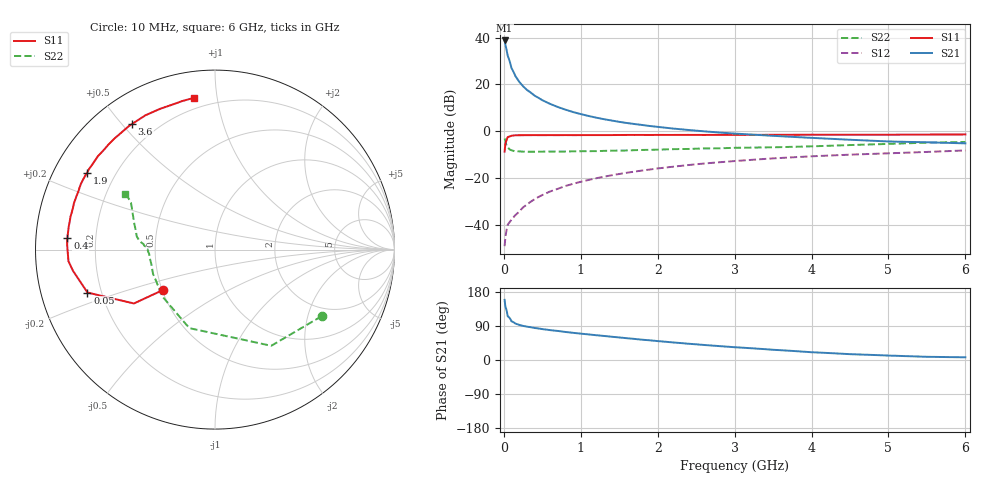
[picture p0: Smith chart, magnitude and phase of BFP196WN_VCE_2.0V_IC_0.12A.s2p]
! (c) 2017  Infineon Technologies AG, Munich
! Infineon Technologies  Discrete & RF Semiconductors
! BFP196WN
! VCE =  2.0 V,  IC = 0.12 A
! Common Emitter S-Parameters:  Jan 2017
# GHz  S  MA  R  50
!  f  S11  S21  S12  S22
! GHz  MAG  ANG  MAG  ANG  MAG  ANG  MAG  ANG
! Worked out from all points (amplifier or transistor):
!   77 points, 10 MHz to 6 GHz, reference 50 ohm
!   highest |S21| = 38.8 dB at 10 MHz (marker M1)
!   |S21| within 3 dB of that: start of sweep to 28.7 MHz
!   unconditionally stable (mu >= 1): 267.1 MHz to 3.217 GHz; 4.597 GHz to 5.201 GHz
!   at 130 MHz: K = 0.83, MSG = 30.8 dB, |S12| = -36.6 dB
!   at 2.2 GHz: K = 1.04, MAG = 6.9 dB, |S12| = -15.2 dB
!   at 6 GHz: K = 0.96, MSG = 1.5 dB, |S12| = -8.2 dB
!   S11 on the Smith chart (normalised r, x): 10 MHz: 0.51, -0.26; 50 MHz: 0.15, -0.16; 400 MHz: 0.10, +0.04; 1.9 GHz: 0.10, +0.27; 3.6 GHz: 0.11, +0.53; 6 GHz: 0.14, +0.86
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0.01  0.3652 -142.1  86.86 158.7  0.0035 70.4  0.7004 -32.0
0.02  0.5423 -146.4  71.24 141.0  0.0054 65.4  0.6208 -59.7
0.05  0.7496 -161.4  41.17 115.4  0.01 49.4  0.4603 -108.1
0.1  0.7999 -171.5  22.15 102.0  0.0129 56.0  0.3926 -138.3
0.15  0.819 -175.5  15.09 96.2  0.0161 59.0  0.3721 -151.6
0.2  0.8201 -178.3  11.38 92.7  0.0192 64.8  0.3709 -158.5
0.25  0.822 179.8  9.127 90.0  0.0236 67.0  0.3667 -162.5
0.3  0.8244 178.0  7.631 88.0  0.0272 69.1  0.364 -166.0
0.4  0.8252 175.4  5.744 84.5  0.0353 71.8  0.3644 -169.6
0.5  0.8243 173.0  4.601 81.6  0.0433 72.6  0.3664 -172.1
0.6  0.8251 171.0  3.843 78.9  0.0515 72.1  0.3682 -174.3
0.7  0.8243 169.3  3.296 76.7  0.0587 73.8  0.367 -175.7
0.9  0.8245 165.2  2.568 71.7  0.0753 72.7  0.3716 -177.7
1.1  0.8271 161.9  2.119 67.5  0.0909 71.8  0.3748 -179.7
1.5  0.8299 155.4  1.585 59.5  0.1219 69.0  0.3854 177.6
1.9  0.8311 149.1  1.291 51.9  0.152 65.9  0.4001 175.5
2.1  0.8323 145.9  1.188 48.2  0.1673 63.8  0.4085 174.8
3.1  0.8345 130.7  0.871 32.5  0.2366 54.4  0.4442 169.6
3.6  0.8385 123.4  0.781 25.8  0.2683 49.6  0.4573 165.6
4.1  0.8418 116.2  0.708 19.6  0.2958 44.9  0.4808 160.3
5.1  0.8427 105.5  0.599 11.1  0.3417 36.7  0.5423 150.5
6  0.8535 97.9  0.55 7.1  0.3883 30.5  0.5897 148.0
